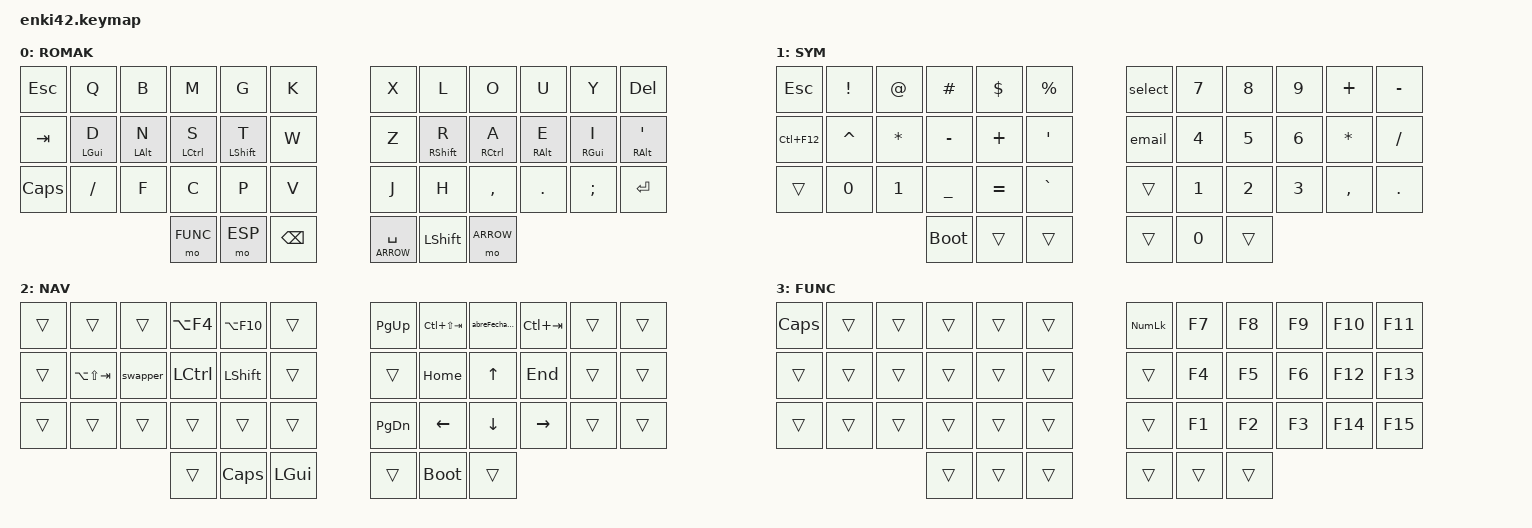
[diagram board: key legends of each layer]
/*
 * Copyright (c) 2020 The ZMK Contributors
 *
 * SPDX-License-Identifier: MIT
 */

#include <behaviors.dtsi>
#include <dt-bindings/zmk/keys.h>

#define ROMAK 0
#define ESP 1
#define ARROW 2
#define FUNC 3

#define KEYS_L 0 1 2 3 4 5 12 13 14 15 16 17 24 25 26 27 28 29
#define KEYS_R 6 7 8 9 10 11 18 19 20 21 22 23 30 31 32 33 34 35
#define THUMBS 36 37 38 39 40 41

/ {
};

/ {
    behaviors {
        homerowL: homerowL {
            compatible = "zmk,behavior-hold-tap";
            label = "HOMEROWL";
            bindings = <&kp>, <&kp>;

            #binding-cells = <2>;
            flavor = "balanced";
            tapping-term-ms = <280>;
            quick-tap-ms = <175>;
            require-prior-idle-ms = <200>;
            hold-trigger-key-positions = <KEYS_R THUMBS>;
            hold-trigger-on-release;
        };

        homerowR: homerowR {
            compatible = "zmk,behavior-hold-tap";
            label = "HOMEROWR";
            bindings = <&kp>, <&kp>;

            #binding-cells = <2>;
            flavor = "balanced";
            tapping-term-ms = <280>;
            quick-tap-ms = <175>;
            require-prior-idle-ms = <200>;
            // sem hold-trigger-on-release: rolar I->E decide tap na hora, evitando Win+E (explorador)
            hold-trigger-key-positions = <KEYS_L THUMBS>;
        };

        // Win na fileira do meio: so ativa segurando (tap-preferred), rolagem rapida nunca vira Win
        hrm_gui_l: hrm_gui_l {
            compatible = "zmk,behavior-hold-tap";
            #binding-cells = <2>;
            bindings = <&kp>, <&kp>;
            flavor = "tap-preferred";
            tapping-term-ms = <300>;
            quick-tap-ms = <175>;
            require-prior-idle-ms = <200>;
            hold-trigger-key-positions = <KEYS_R THUMBS>;
            hold-trigger-on-release;
        };

        hrm_gui_r: hrm_gui_r {
            compatible = "zmk,behavior-hold-tap";
            #binding-cells = <2>;
            bindings = <&kp>, <&kp>;
            flavor = "tap-preferred";
            tapping-term-ms = <300>;
            quick-tap-ms = <175>;
            require-prior-idle-ms = <200>;
            hold-trigger-key-positions = <KEYS_L THUMBS>;
        };

        nav_space: nav_space {
            compatible = "zmk,behavior-hold-tap";
            #binding-cells = <2>;
            flavor = "balanced";
            tapping-term-ms = <220>;
            quick-tap-ms = <175>;
            require-prior-idle-ms = <125>;
            bindings = <&mo>, <&kp>;
        };

        swapper: swapper {
            compatible = "zmk,behavior-tri-state";
            label = "SWAPPER";
            #binding-cells = <0>;
            bindings = <&kt LALT>, <&kp TAB>, <&kt LALT>;
        };

        abreFechaP: abreFechaP {
            compatible = "zmk,behavior-tap-dance";
            label = "ABREFECHAP";
            #binding-cells = <0>;
            bindings = <&kp LEFT_PARENTHESIS>, <&kp RIGHT_PARENTHESIS>;

            tapping-term-ms = <285>;
        };

        abreFechaCh: abreFechaCh {
            compatible = "zmk,behavior-tap-dance";
            label = "ABREFECHACH";
            #binding-cells = <0>;
            bindings = <&kp LEFT_BRACKET>, <&kp RIGHT_BRACKET>;
        };

        abreFechaCo: abreFechaCo {
            compatible = "zmk,behavior-tap-dance";
            label = "ABREFECHACO";
            #binding-cells = <0>;
            bindings = <&kp LS(LEFT_BRACKET)>, <&kp LS(RIGHT_BRACKET)>;
        };

        paren: paren {
            compatible = "zmk,behavior-hold-tap";
            label = "PAREN";
            bindings = <&parens>, <&abreFechaP>;

            #binding-cells = <2>;
            flavor = "tap-preferred";
            tapping-term-ms = <280>;
        };

        colches: colches {
            compatible = "zmk,behavior-hold-tap";
            label = "COLCHES";
            bindings = <&colche>, <&abreFechaCo>;

            #binding-cells = <2>;
            flavor = "tap-preferred";
            tapping-term-ms = <280>;
        };

        chave: chave {
            compatible = "zmk,behavior-hold-tap";
            label = "CHAVE";
            bindings = <&chaves>, <&abreFechaCh>;

            #binding-cells = <2>;
            flavor = "tap-preferred";
            tapping-term-ms = <280>;
        };

        aspasSimples: aspasSimples {
            compatible = "zmk,behavior-hold-tap";
            label = "ASPASSIMPLES";
            bindings = <&aspas>, <&aspS>;

            #binding-cells = <2>;
            flavor = "tap-preferred";
            tapping-term-ms = <180>;
        };

        aspasDuplas: aspasDuplas {
            compatible = "zmk,behavior-hold-tap";
            label = "ASPASDUPLAS";
            bindings = <&aspasD>, <&aspD>;

            #binding-cells = <2>;
            flavor = "tap-preferred";
            tapping-term-ms = <180>;
        };

        abreFechaAba: abreFechaAba {
            compatible = "zmk,behavior-tap-dance";
            label = "ABREFECHAABA";
            #binding-cells = <0>;
            bindings = <&kp LC(T)>, <&kp LC(W)>;

            tapping-term-ms = <300>;
        };
    };

    combos {
        compatible = "zmk,combos";

        copy {
            bindings = <&kp LC(C)>;
            layers = <ROMAK>;
            key-positions = <3 14>;
            timeout-ms = <50>;
            require-prior-idle-ms = <100>;
        };

        paste {
            bindings = <&kp LC(V)>;
            layers = <ROMAK>;
            key-positions = <3 16>;
            timeout-ms = <50>;
            require-prior-idle-ms = <100>;
        };

        find {
            bindings = <&kp LC(F)>;
            layers = <ROMAK>;
            key-positions = <4 5>;
            timeout-ms = <40>;
            require-prior-idle-ms = <125>;
        };

        find_upper {
            bindings = <&kp LC(LS(F))>;
            layers = <ROMAK>;
            key-positions = <16 17>;
            timeout-ms = <40>;
            require-prior-idle-ms = <125>;
        };

        tab {
            bindings = <&kp TAB>;
            layers = <ROMAK>;
            key-positions = <14 16 3>;
            timeout-ms = <50>;
            require-prior-idle-ms = <125>;
        };

        enter {
            bindings = <&kp ENTER>;
            layers = <ROMAK>;
            key-positions = <15 16>;
            timeout-ms = <50>;
            require-prior-idle-ms = <100>;
        };

        undo {
            bindings = <&kp LC(Z)>;
            layers = <ROMAK>;
            key-positions = <26 27>;
            timeout-ms = <40>;
            require-prior-idle-ms = <125>;
        };

        cut {
            bindings = <&kp LC(X)>;
            layers = <ROMAK>;
            key-positions = <2 3 4>;
            timeout-ms = <50>;
            require-prior-idle-ms = <125>;
        };

        all {
            bindings = <&kp LC(A)>;
            layers = <ROMAK>;
            key-positions = <2 1>;
            timeout-ms = <40>;
            require-prior-idle-ms = <125>;
        };

        eh {
            bindings = <&eh>;
            layers = <ROMAK>;
            key-positions = <21 31>;
            timeout-ms = <40>;
            require-prior-idle-ms = <125>;
        };

        ah {
            bindings = <&ah>;
            layers = <ROMAK>;
            key-positions = <31 20>;
            timeout-ms = <40>;
            require-prior-idle-ms = <125>;
        };

        ih {
            bindings = <&ih>;
            layers = <ROMAK>;
            key-positions = <31 22>;
            timeout-ms = <40>;
            require-prior-idle-ms = <125>;
        };

        oh {
            bindings = <&oh>;
            layers = <ROMAK>;
            key-positions = <31 8>;
            timeout-ms = <40>;
            require-prior-idle-ms = <125>;
        };

        ch {
            bindings = <&ch>;
            layers = <ROMAK>;
            key-positions = <27 38>;
            timeout-ms = <40>;
            require-prior-idle-ms = <125>;
        };

        ao {
            bindings = <&ao>;
            layers = <ROMAK>;
            key-positions = <20 8>;
            timeout-ms = <40>;
            require-prior-idle-ms = <125>;
        };

        an {
            bindings = <&an>;
            layers = <ROMAK>;
            key-positions = <20 19>;
            timeout-ms = <40>;
            require-prior-idle-ms = <125>;
        };

        c_paren {
            bindings = <&paren 0 0>;
            layers = <ROMAK>;
            key-positions = <21 20 39>;
            timeout-ms = <50>;
            require-prior-idle-ms = <125>;
        };

        c_chaves {
            bindings = <&chave 0 0>;
            layers = <ROMAK>;
            key-positions = <8 9 39>;
            timeout-ms = <50>;
            require-prior-idle-ms = <125>;
        };

        c_colche {
            bindings = <&colches 0 0>;
            layers = <ROMAK>;
            key-positions = <32 33 39>;
            timeout-ms = <50>;
            require-prior-idle-ms = <125>;
        };

        aspas_C {
            bindings = <&aspasSimples 0 0>;
            layers = <ROMAK>;
            key-positions = <38 2 3>;
            timeout-ms = <50>;
            require-prior-idle-ms = <125>;
        };

        aspasD_C {
            bindings = <&aspasDuplas 0 0>;
            layers = <ROMAK>;
            key-positions = <38 14 15>;
            timeout-ms = <50>;
            require-prior-idle-ms = <125>;
        };

        int {
            bindings = <&kp LS(SLASH)>;
            layers = <ROMAK>;
            key-positions = <13 14>;
            timeout-ms = <50>;
            require-prior-idle-ms = <100>;
        };

        PontVirg {
            bindings = <&kp SEMICOLON>;
            layers = <ROMAK>;
            key-positions = <22 21>;
            timeout-ms = <40>;
            require-prior-idle-ms = <125>;
        };

        page_up {
            bindings = <&kp PAGE_UP>;
            layers = <ROMAK>;
            key-positions = <33 34>;
            timeout-ms = <40>;
            require-prior-idle-ms = <125>;
        };

        oes {
            bindings = <&oes>;
            layers = <ROMAK>;
            key-positions = <8 21>;
            timeout-ms = <40>;
            require-prior-idle-ms = <125>;
        };

        ea {
            bindings = <&ea>;
            layers = <ROMAK>;
            key-positions = <21 20>;
            timeout-ms = <40>;
            require-prior-idle-ms = <125>;
        };

        s_enter {
            bindings = <&kp LS(ENTER)>;
            layers = <ROMAK>;
            key-positions = <15 16 14>;
            timeout-ms = <50>;
            require-prior-idle-ms = <125>;
        };

        uh {
            bindings = <&uh>;
            layers = <ROMAK>;
            key-positions = <31 9>;
            timeout-ms = <40>;
            require-prior-idle-ms = <125>;
        };
    };

    macros {
        eh: eh {
            compatible = "zmk,behavior-macro";
            #binding-cells = <0>;
            bindings = <&kp SQT &kp E>;
            label = "EH";
        };

        ah: ah {
            compatible = "zmk,behavior-macro";
            #binding-cells = <0>;
            bindings = <&kp SQT &kp A>;
            label = "AH";
        };

        oh: oh {
            compatible = "zmk,behavior-macro";
            #binding-cells = <0>;
            bindings = <&kp SQT &kp O>;
            label = "OH";
        };

        ih: ih {
            compatible = "zmk,behavior-macro";
            #binding-cells = <0>;
            bindings = <&kp SQT &kp I>;
            label = "IH";
        };

        ch: ch {
            compatible = "zmk,behavior-macro";
            #binding-cells = <0>;
            bindings = <&kp SQT &kp C>;
            label = "CH";
        };

        ao: ao {
            compatible = "zmk,behavior-macro";
            #binding-cells = <0>;
            bindings = <&kp TILDE &kp A &kp O>;
            label = "AO";
        };

        an: an {
            compatible = "zmk,behavior-macro";
            #binding-cells = <0>;
            bindings = <&kp TILDE &kp A>;
            label = "AN";
        };

        parens: parens {
            compatible = "zmk,behavior-macro";
            #binding-cells = <0>;
            bindings = <&kp LEFT_PARENTHESIS &kp RIGHT_PARENTHESIS &kp LEFT>;
            label = "PARENS";
        };

        chaves: chaves {
            compatible = "zmk,behavior-macro";
            #binding-cells = <0>;
            bindings = <&kp LEFT_BRACKET &kp RIGHT_BRACKET &kp LEFT>;
            label = "CHAVES";
        };

        colche: colche {
            compatible = "zmk,behavior-macro";
            #binding-cells = <0>;
            bindings = <&kp LS(LEFT_BRACKET) &kp LS(RIGHT_BRACKET) &kp LEFT>;
            label = "COLCHE";
        };

        aspas: aspas {
            compatible = "zmk,behavior-macro";
            #binding-cells = <0>;
            bindings = <&kp SINGLE_QUOTE &kp SPACE &kp SINGLE_QUOTE &kp SPACE &kp LEFT>;
            label = "ASPAS";
        };

        aspasD: aspasD {
            compatible = "zmk,behavior-macro";
            #binding-cells = <0>;
            bindings = <&kp LS(SINGLE_QUOTE) &kp SPACE &kp LS(SINGLE_QUOTE) &kp SPACE &kp LEFT>;
            label = "ASPASD";
        };

        aspS: aspS {
            compatible = "zmk,behavior-macro";
            #binding-cells = <0>;
            bindings = <&kp SINGLE_QUOTE &kp SPACE>;
            label = "ASPS";
        };

        aspD: aspD {
            compatible = "zmk,behavior-macro";
            #binding-cells = <0>;
            bindings = <&kp LS(SINGLE_QUOTE) &kp SPACE>;
            label = "ASPD";
        };

        select: select {
            compatible = "zmk,behavior-macro";
            #binding-cells = <0>;
            bindings = <&kp S &kp E &kp L &kp E &kp C &kp T &kp SPACE &kp STAR &kp SPACE &kp F &kp R &kp O &kp M>;
            label = "SELECT";
        };

        email: email {
            compatible = "zmk,behavior-macro";
            #binding-cells = <0>;
            bindings = <&kp G &kp O &kp U &kp V &kp E &kp I &kp A &kp V &kp I &kp N &kp I &kp C &kp I &kp U &kp S &kp N9 &kp N6 &kp AT &kp G &kp M &kp A &kp I &kp L &kp DOT &kp C &kp O &kp M>;
            label = "EMAIL";
        };


        oes: oes {
            compatible = "zmk,behavior-macro";
            #binding-cells = <0>;
            bindings = <&kp TILDE &kp O &kp E &kp S>;
            label = "OES";
        };

        ea: ea {
            compatible = "zmk,behavior-macro";
            #binding-cells = <0>;
            bindings = <&kp CARET &kp E>;
            label = "EA";
        };

        uh: uh {
            compatible = "zmk,behavior-macro";
            #binding-cells = <0>;
            bindings = <&kp SQT &kp U>;
            label = "UH";
        };
    };

    keymap {
        compatible = "zmk,keymap";

        romak {
            display-name = "ROMAK";
            // ------------------------------------------------------------------------------------------------
            //| LGUI/] |  Q  |  W  |  E  |  R  |  T  |   |  Y  |  U   |  I  |  O  |  P  | RGUI/[ | 
            //| CTRL/` |  A  |  S  |  D  |  F  |  G  |   |  H  |  J   |  K  |  L  |  ;  | CTRL/' |
            //| LALT/\ |  Z  |  X  |  C  |  V  |  B  |   |  N  |  M   |  ,  |  .  |  /  | RALT/- |
            //                             | RSE | SPC | LWR |   | LWR | BKSP | RSE |

            bindings = <
&kp ESCAPE    &kp Q                 &kp B                 &kp M                     &kp G                   &kp K          &kp X      &kp L                    &kp O                      &kp U                  &kp Y                  &kp DELETE
&kp TAB       &hrm_gui_l LEFT_GUI D  &homerowL LEFT_ALT N  &homerowL LEFT_CONTROL S  &homerowL LEFT_SHIFT T  &kp W          &kp Z      &homerowR RIGHT_SHIFT R  &homerowR RIGHT_CONTROL A  &homerowR RIGHT_ALT E  &hrm_gui_r RIGHT_GUI I  &homerowR RIGHT_ALT SQT
&kp CAPSLOCK  &kp SLASH             &kp F                 &kp C                     &kp P                   &kp V          &kp J      &kp H                    &kp COMMA                  &kp DOT                &kp SEMICOLON          &kp ENTER
                                                          &mo FUNC                  &mo ESP                  &kp BACKSPACE  &nav_space ARROW SPACE  &kp LEFT_SHIFT           &mo ARROW
            >;
        };

        esp {
            display-name = "SYM";
            // -----------------------------------------------------------------------------------------
            //|LGUI/CAPS |  *  |  7 |  8  |  9  |  +  |    |  !  |  @  |  #  |  $  |  %  | RGUI/F1 |
            //|CTRL/MENU |  /  |  4 |  5  |  6  |  -  |    |  ^  |  &  |  *  |  (  |  )  | CTRL/F2 |
            //|  LALT/=  |  0  |  1 |  4  |  3  |  .  |    |  ls |  F4 |  F5 |  F6 |  F7 | RALT/F3 |
            //                      | ADJ | ___ | ___ |    | ___ | ___ | ADJ |

            bindings = <
&kp ESCAPE   &kp EXCL   &kp AT_SIGN   &kp HASH        &kp DOLLAR  &kp PERCENT  &select    &kp NUMBER_7  &kp NUMBER_8  &kp NUMBER_9  &kp PLUS      &kp MINUS
&kp LC(F12)  &kp CARET  &kp ASTERISK  &kp MINUS       &kp PLUS    &kp SQT      &email     &kp NUMBER_4  &kp NUMBER_5  &kp NUMBER_6  &kp ASTERISK  &kp SLASH
&trans       &kp N0     &kp N1        &kp UNDERSCORE  &kp EQUAL   &kp GRAVE    &trans     &kp NUMBER_1  &kp NUMBER_2  &kp NUMBER_3  &kp COMMA     &kp PERIOD
                                      &bootloader     &trans      &trans       &trans     &kp NUMBER_0  &trans
            >;
        };

        arrow {
            display-name = "NAV";
            bindings = <
&trans  &trans            &trans      &kp LA(F4)        &kp LA(F10)     &trans        &kp PAGE_UP  &kp LC(LS(TAB))  &abreFechaAba  &kp LC(TAB)     &trans  &trans
&trans  &kp LA(LS(TAB))   &swapper    &kp LEFT_CONTROL  &kp LEFT_SHIFT  &trans        &trans  &kp HOME         &kp UP_ARROW   &kp END         &trans  &trans
&trans  &trans            &trans      &trans            &trans          &trans        &kp PAGE_DOWN  &kp LEFT_ARROW  &kp DOWN_ARROW  &kp RIGHT_ARROW  &trans         &trans
                        &trans            &kp CAPSLOCK    &kp LEFT_GUI  &trans  &bootloader  &trans
            >;
        };

        func {
            display-name = "FUNC";
            bindings = <
&kp CAPSLOCK  &trans  &trans  &trans  &trans  &trans  &kp KP_NUMLOCK  &kp F7  &kp F8  &kp F9  &kp F10  &kp F11
&trans        &trans  &trans  &trans  &trans  &trans  &trans  &kp F4  &kp F5  &kp F6  &kp F12  &kp F13
&trans        &trans  &trans  &trans  &trans  &trans  &trans  &kp F1  &kp F2  &kp F3  &kp F14  &kp F15
                              &trans  &trans  &trans  &trans  &trans  &trans
            >;
        };
    };
};
